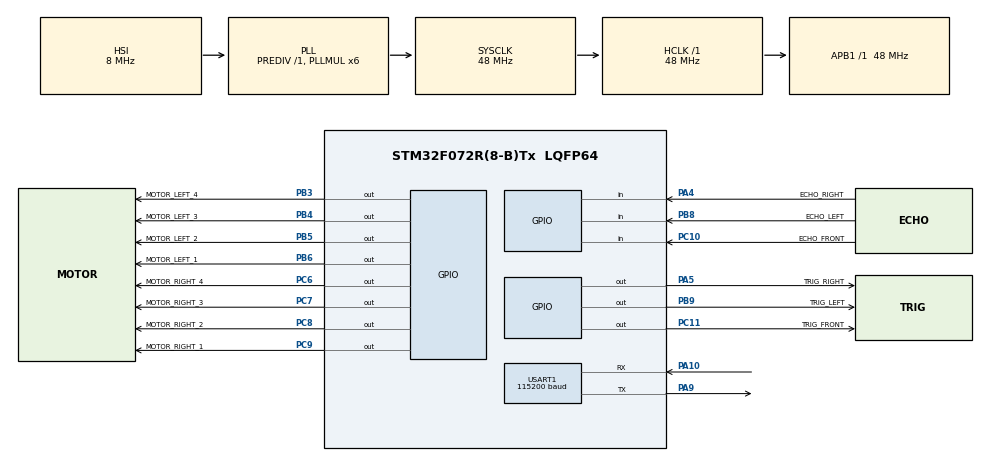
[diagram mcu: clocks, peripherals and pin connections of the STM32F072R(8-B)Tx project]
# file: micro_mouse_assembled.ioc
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Dma.Request0=USART1_RX
Dma.USART1_RX.0.Direction=DMA_PERIPH_TO_MEMORY
Dma.USART1_RX.0.Instance=DMA1_Channel3
Dma.USART1_RX.0.MemDataAlignment=DMA_MDATAALIGN_BYTE
Dma.USART1_RX.0.MemInc=DMA_MINC_ENABLE
Dma.USART1_RX.0.Mode=DMA_CIRCULAR
Dma.USART1_RX.0.PeriphDataAlignment=DMA_PDATAALIGN_BYTE
Dma.USART1_RX.0.PeriphInc=DMA_PINC_DISABLE
Dma.USART1_RX.0.Priority=DMA_PRIORITY_LOW
Mcu.Family=STM32F0
Mcu.Name=STM32F072R(8-B)Tx
Mcu.Package=LQFP64
NVIC.DMA1_Channel2_3_IRQn=true\:0\:0\:false\:false\:true\:false\:true\:true
NVIC.TIM2_IRQn=true\:0\:0\:false\:false\:true\:true\:true\:true
NVIC.USART1_IRQn=true\:0\:0\:false\:false\:true\:true\:true\:true
PA10.Mode=Asynchronous
PA10.Signal=USART1_RX
PA13.Mode=Serial_Wire
PA13.Signal=SYS_SWDIO
PA14.Mode=Serial_Wire
PA14.Signal=SYS_SWCLK
PA4.GPIO_Label=ECHO_RIGHT
PA4.Signal=GPIO_Input
PA5.GPIO_Label=TRIG_RIGHT
PA5.Signal=GPIO_Output
PA9.Mode=Asynchronous
PA9.Signal=USART1_TX
PB3.GPIO_Label=MOTOR_LEFT_4
PB3.Signal=GPIO_Output
PB4.GPIO_Label=MOTOR_LEFT_3
PB4.Signal=GPIO_Output
PB5.GPIO_Label=MOTOR_LEFT_2
PB5.Signal=GPIO_Output
PB6.GPIO_Label=MOTOR_LEFT_1
PB6.Signal=GPIO_Output
PB8.GPIO_Label=ECHO_LEFT
PB8.Signal=GPIO_Input
PB9.GPIO_Label=TRIG_LEFT
PB9.Signal=GPIO_Output
PC10.GPIO_Label=ECHO_FRONT
PC10.Signal=GPIO_Input
PC11.GPIO_Label=TRIG_FRONT
PC11.Signal=GPIO_Output
PC6.GPIO_Label=MOTOR_RIGHT_4
PC6.Signal=GPIO_Output
PC7.GPIO_Label=MOTOR_RIGHT_3
PC7.Signal=GPIO_Output
PC8.GPIO_Label=MOTOR_RIGHT_2
PC8.Signal=GPIO_Output
PC9.GPIO_Label=MOTOR_RIGHT_1
PC9.Signal=GPIO_Output
ProjectManager.HeapSize=0x200
ProjectManager.StackSize=0x400
ProjectManager.TargetToolchain=EWARM V8.32
RCC.AHBFreq_Value=48000000
RCC.APB1Freq_Value=48000000
RCC.APB1TimFreq_Value=48000000
RCC.HCLKFreq_Value=48000000
RCC.PLLMUL=RCC_PLL_MUL6
RCC.SYSCLKFreq_VALUE=48000000
RCC.SYSCLKSource=RCC_SYSCLKSOURCE_PLLCLK
TIM1.Prescaler=47
TIM2.Period=999
TIM2.Prescaler=47
USART1.BaudRate=115200
USART1.VirtualMode-Asynchronous=VM_ASYNC
VP_TIM1_VS_ClockSourceINT.Mode=Internal
VP_TIM2_VS_ClockSourceINT.Mode=Internal
board=STM32F072B-DISCO

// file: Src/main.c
/* USER CODE BEGIN Header */
/**
  ******************************************************************************
  * @file           : main.c
  * @brief          : Main program body
  ******************************************************************************
  * @attention
  *
  * Copyright (c) 2023 STMicroelectronics.
  * All rights reserved.
  *
  * This software is licensed under terms that can be found in the LICENSE file
  * in the root directory of this software component.
  * If no LICENSE file comes with this software, it is provided AS-IS.
  *
  ******************************************************************************
  */
/* USER CODE END Header */
#include "main.h"

/* USER CODE BEGIN Includes */
#include <stdio.h>
#include <stdlib.h>
#include <string.h>
#include "distance.h"
#include "maze.h"
#include "functions.h"
/* USER CODE END Includes */

/* USER CODE BEGIN PD */

char char_INPUT[18];
int8_t parameter_h;
int8_t parameter_d;
int8_t parameter_o;
int16_t parameter;

/* USER CODE END PD */

TIM_HandleTypeDef htim1;
TIM_HandleTypeDef htim2;

UART_HandleTypeDef huart1;
DMA_HandleTypeDef hdma_usart1_rx;

/* USER CODE BEGIN PV */
uint8_t dis_f;
uint8_t dis_r;
uint8_t dis_l;
uint8_t onlyonce = 0;

uint8_t check = 0;
uint8_t controlvar;
uint8_t controlvar_corner = 0;
uint8_t controlvar_wall = 0;
uint8_t Number_of_cells = 0;
uint8_t goal_x;
uint8_t goal_y;

// uint8_t Path[9] = {1,2,3,4,5,3,7,8,9};
//uint8_t cnt = 0;

/* USER CODE END PV */

void SystemClock_Config(void);
static void MX_GPIO_Init(void);
static void MX_DMA_Init(void);
static void MX_USART1_UART_Init(void);
static void MX_TIM1_Init(void);
static void MX_TIM2_Init(void);
/* USER CODE BEGIN PFP */
void usDelay(uint16_t uSec);

/* USER CODE END PFP */

int main(void)
{
  /* USER CODE BEGIN 1 */
  initMaze();
  initPath();
  /* USER CODE END 1 */

  /* MCU Configuration--------------------------------------------------------*/

  /* Reset of all peripherals, Initializes the Flash interface and the Systick. */
  HAL_Init();

  /* Configure the system clock */
  SystemClock_Config();

  /* Initialize all configured peripherals */
  MX_GPIO_Init();
  MX_DMA_Init();
  MX_USART1_UART_Init();
  MX_TIM1_Init();
  MX_TIM2_Init();
  /* USER CODE BEGIN 2 */
  HAL_UART_Receive_DMA(&huart1, rxdata, sizeof(rxdata));

  HAL_TIM_Base_Start (&htim1);

  __HAL_TIM_SET_PRESCALER(&htim2, SystemCoreClock/1000000 - 1);
  __HAL_TIM_SET_AUTORELOAD(&htim2, 200 - 1);   // 1500 desired delay length
  __HAL_TIM_SET_COUNTER(&htim2,100);
  HAL_TIM_Base_Start_IT(&htim2);
  /* USER CODE END 2 */

  /* Infinite loop */
  /* USER CODE BEGIN WHILE */

  i_step = 0;
  j_tim2 = 0;
  k_step = 0;
  cnt = 0;
  k_turn = 0;
  // mean_f =1000;
  mv_distance = 0; //1000;
  mv_speed = 45; // speed in mm/s
  mv_rt_deg = 90; // turn in °        ----> FUNKTIONIERT NUR WENN BEIDE RÄDER MIT GLEICHER GESCHWINDIGKEIT DREHEN
  mv_rt_left = 30;  // speed left
  mv_rt_right = 30;  // speed right
  turn_mode = 0; // Turn mode, 0 = off, 1 = on
  measure_mode_l = 0;
  measure_mode_r = 0;
  measure_mode_f = 0;
  x_start = 0;
  y_start = 0;
  solving_mode = 0;
  solving_mode_fast = 0;

  mean_f = 100;
  mean_r = 100;
  mean_l = 100;
  sum_f = 0;
  sum_l = 0;
  sum_r = 0;
  goal_x = 3;
  goal_y = 3;

  // path[0]->x_pos = 1;
  // path[0]->y_pos = 1;
  // path[0]->direction = 'E';

  // path[1]->x_pos = 2;
  // path[1]->y_pos = 1;
  // path[1]->direction = 'S';

  // path[2]->x_pos = 2;
  // path[2]->y_pos = 0;
  // path[2]->direction = 'N';

  // path[3]->x_pos = 2;
  // path[3]->y_pos = 1;
  // path[3]->direction = 'N';

  // path[4]->x_pos = 2;
  // path[4]->y_pos = 2;
  // path[4]->direction = 'E';

  // path[5]->x_pos = 3;
  // path[5]->y_pos = 2;
  // path[5]->direction = 'E';

  // path[6]->x_pos = 4;
  // path[6]->y_pos = 2;
  // path[6]->direction = 'N';

  // path[7]->x_pos = 4;
  // path[7]->y_pos = 3;
  // path[7]->direction = 'W';

  // maze_counter = 7;

  while (1)
  {
    strncpy(char_INPUT, (const char *)rxdata, 18);

    if (cnt == 20)
    {
      if (measure_mode_f==1)      // If measuremode for front activated
      {
        mean_f = sum_f/20;
        sum_f = 0;
      }
      if (measure_mode_r==1)     // If measuremode for right activated
      {
        mean_r = sum_r/20;
        sum_r = 0;
      }
      if (measure_mode_l==1)      // If measuremode for left activated
      {
        mean_l = sum_l/20;
        sum_l = 0;
      }
      cnt = 0;
    }
    else
    {
      if (measure_mode_f==1)
      {
        dis_f = calc_distance_f();
        sum_f = dis_f + sum_f;
      }
      if (measure_mode_l==1)
      {
        dis_l = calc_distance_l();
        sum_l = dis_l + sum_l;
      }
      if (measure_mode_r==1)
      {
        dis_r = calc_distance_r();
        sum_r = dis_r + sum_r;
      }
      cnt++;
      HAL_Delay(1);
    }

    if (strncmp(&char_INPUT[0], "mv", 2) == 0)
    {
      if (strncmp(&char_INPUT[2], "sp", 2) == 0) // define speed
      {
        // movement speed
        uint8_t* message1 = "You set the speed in mm/s. \r\n\r\n";
        HAL_UART_Transmit(&huart1, message1, strlen(message1),10);
        parameter_h = (int)char_INPUT[4] - 48;
        parameter_d = (int)char_INPUT[5] - 48;
        parameter_o = (int)char_INPUT[6] - 48;
        parameter = 100*parameter_h + 10*parameter_d + parameter_o;

        turn_mode = 0;
        mv_speed = parameter;
        clear_buffer();

      }
      else if (strncmp(&char_INPUT[2], "ds", 2) == 0) // define distance
      {
        // movement distance
        uint8_t* message2 = "You set a distance in mm. \r\n\r\n";
        HAL_UART_Transmit(&huart1, message2, strlen(message2),100);
        parameter_h = (int)char_INPUT[4] - 48;
        parameter_d = (int)char_INPUT[5] - 48;
        parameter_o = (int)char_INPUT[6] - 48;

        if ((int)char_INPUT[4]==45) //falls das Erste ein Minus ist
        {
          parameter_h = 0;
        }
        parameter = 100*parameter_h + 10*parameter_d + parameter_o;

        turn_mode = 0;

        mv_distance = parameter;

        if ((int)char_INPUT[4]==45) //falls das Erste ein Minus ist
        {
          mv_distance = -parameter;
        }

        clear_buffer();
      }
      else if (strncmp(&char_INPUT[2], "st", 2) == 0) // stop mausi
      {
        // movement stop
        uint8_t* message3 = "Mausi stops. \r\n\r\n";
        HAL_UART_Transmit(&huart1, message3, strlen(message3),100);

        turn_mode = 0;
        mv_distance = 0;
        solving_mode = 0;
        solving_mode_fast = 0;

        clear_buffer();
      }
      else if (strncmp(&char_INPUT[2], "rt", 2) == 0) // rotate mausi
      {
        // movement rotation
        uint8_t* message4 = "Mausi is turning with your given speed. \r\n";
        HAL_UART_Transmit(&huart1, message4, strlen(message4),100);
        parameter_h = (int)char_INPUT[4] - 48;
        parameter_d = (int)char_INPUT[5] - 48;
        parameter_o = (int)char_INPUT[6] - 48;
        parameter = 100*parameter_h + 10*parameter_d + parameter_o;

        turn_mode = 1;
        mv_rt_left = parameter;   // so oder so ähnlich
        mv_rt_right = -parameter;
      }
      else if (strncmp(&char_INPUT[2], "pa", 2) == 0) // parking cmd
      {
        // parking cmd
        // mv_distance = 1000;
        if (mean_f<12)
        {
          check++;
        }
        if (check>=3 && onlyonce == 0)  // wenn mean drei mal unter 10 cm
        {
          turn_mode = 1;
          mv_rt_deg = 180;
          mv_rt_left = 30;
          mv_rt_right = -30;
          onlyonce = 1;
        }
        if (k_turn >= mv_rt_deg*19) // wenn 180° gedreht, nochmal 5cm zurücksetzen
        {
          k_turn =0;
          k_step = 0;
          turn_mode = 0;
          mv_distance = -50;
        }

      }
      else if (strncmp(&char_INPUT[2], "wa", 2) == 0)
      {
         // Follow a wall
        if(controlvar_wall == 0){
          mv_distance = 2000;
          controlvar_wall = 1;
        }

        if (mean_l<6) //nur links
        {
          turn_mode = 1;
          mv_rt_left = 30;
          mv_rt_right = 25;
          k_turn = 0;
        }
        else if (mean_l>8)
        {
          turn_mode = 1;
          mv_rt_left = 25;
          mv_rt_right = 30;
          k_turn = 0;
        }
        else
        {
          //turn_mode = 0;
          //mv_speed = 30;
        }
      }
      else if (strncmp(&char_INPUT[2], "co", 2) == 0)
      {
      // Follow a wall and corner
      if (mean_l<6 && mean_f>15) //nur links
      {
        turn_mode = 1;
        mv_rt_left = 30;
        mv_rt_right = 25;
        k_turn = 0;
      }
      else if (mean_l>8 && mean_f >15)
      {
        turn_mode = 1;
        mv_rt_left = 25;
        mv_rt_right = 30;
        k_turn = 0;
      }
      else if (mean_f > 15)
      {
        turn_mode = 0;
        mv_speed = 30;
      }
      // Follow a corner
      if (mean_f<10)
        {
          check++;
        }
      if (check>3 && mean_l<12)  // Rechtskurve
      {
        if (controlvar_corner==0)
        {
          k_turn = 0;
        }
        check =0;
        controlvar_corner=1;
        measure_mode_l = 0;
        measure_mode_f = 0;
        mv_rt_deg = 90;
        turn_mode = 1;
        mv_rt_left = 30;
        mv_rt_right = -30;

        //onlyonce = 1;
      }
        /*if (mean_f<10 && mean_r<12 && onlyonce == 0)  // Linkskurve
        {
          mv_rt_deg = 90;
          turn_mode = 1;
          mv_rt_left = -30;
          mv_rt_right = 30;
          onlyonce = 1;
        }*/

        if (k_turn >= mv_rt_deg*19)
        {
          turn_mode = 0;
          measure_mode_l =1;
          measure_mode_f =1;
        }
      }
      else /* unexpected input */
      {
        uint8_t* message = "Invalid input! Expected sp,ds,st or rt. \r\n";
        HAL_UART_Transmit(&huart1, message, strlen(message),100);
        clear_buffer();
      }
    }
    else if  (strncmp(&char_INPUT[0], "tm", 2) == 0)
    {
      if (strncmp(&char_INPUT[2], "ds", 2) == 0)
      {
        measure_mode_f = 1;
        measure_mode_l = 1;
        measure_mode_r = 1;

        // telemetry distance
        if (cnt == 1)
        {

          char buffer[20];
          int len_f=sprintf(buffer,"Front = %i" "cm   ", mean_f);
          HAL_UART_Transmit(&huart1, (uint8_t*)buffer, len_f, HAL_MAX_DELAY);
          int len_l=sprintf(buffer,"Left = %i" "cm   ", mean_l);
          HAL_UART_Transmit(&huart1, (uint8_t*)buffer, len_l, HAL_MAX_DELAY);
          int len_r=sprintf(buffer,"Right = %i" "cm   \r\n\r\n", mean_r);
          HAL_UART_Transmit(&huart1, (uint8_t*)buffer, len_r, HAL_MAX_DELAY);
          // mean_f = 0;
          // mean_l = 0;
          // mean_r = 0;
          clear_buffer();
        }
        else
        {

        }
      }
      else if (strncmp(&char_INPUT[2], "od", 2) == 0)
      {
        // telemetry odometry
        uint8_t* message6 = "We don't use this command.  \r\n\r\n";
        HAL_UART_Transmit(&huart1, message6, strlen(message6),100);
      }
      else if (strncmp(&char_INPUT[2], "vc", 2) == 0)
      {
        // telemetry vector
        uint8_t* message7 = "We don't use this command.  \r\n\r\n";
        HAL_UART_Transmit(&huart1, message7, strlen(message7),100);
      }
      else if (strncmp(&char_INPUT[2], "hd", 2) == 0)
      {
        // telemetry heading
        uint8_t* message8 = "We don't use this command. \r\n \r\n";
        HAL_UART_Transmit(&huart1, message8, strlen(message8),100);
      }
      else /* unexpected input */
      {
        uint8_t* message = "Invalid input! Expected ds. \r\n\r\n";
        HAL_UART_Transmit(&huart1, message, strlen(message),10);
        clear_buffer();
      }
    }
    else if (strncmp(&char_INPUT[0], "mz", 2) == 0)
    {
      if (strncmp(&char_INPUT[2], "ds", 2) == 0)
      {
        // telemetry odometry
        uint8_t* message6 = "You commanded the number of cells Mausi shall drive. \r\n";
        HAL_UART_Transmit(&huart1, message6, strlen(message6),100);
        parameter_h = (int)char_INPUT[4] - 48;
        parameter_d = (int)char_INPUT[5] - 48;
        parameter_o = (int)char_INPUT[6] - 48;
        parameter = 100*parameter_h + 10*parameter_d + parameter_o;

        Number_of_cells = parameter;
        mv_distance = Number_of_cells * 200;
        clear_buffer();

      }
      else if (strncmp(&char_INPUT[2], "tu", 2) == 0)
      {
        // telemetry odometry
        uint8_t* message6 = "Mausi is turning the angle you gave her. \r\n";
        HAL_UART_Transmit(&huart1, message6, strlen(message6),100);
        parameter_h = (int)char_INPUT[4] - 48;
        parameter_d = (int)char_INPUT[5] - 48;
        parameter_o = (int)char_INPUT[6] - 48;

        if ((int)char_INPUT[4]==45) //falls das Erste ein Minus ist
        {
          parameter_h = 0;
        }

        parameter = 100*parameter_h + 10*parameter_d + parameter_o;

        // if ((int)char_INPUT[4]==45)
        // {
        //   parameter *= -1;
        // }

        turn_mode = 1;
        mv_rt_deg = parameter;
        if ((int)char_INPUT[4]==45)
        {
          mv_rt_left = -30;
          mv_rt_right = 30;
        }
        else
        {
          mv_rt_left = 30;
          mv_rt_right = -30;
        }

        clear_buffer();

      }
      else if (strncmp(&char_INPUT[2], "ps", 2) == 0)
      {
        // return postion in maze
        char buffer[20];
        int pos_maze = sprintf(buffer,"Position: %i %i" "   \r\n \r\n", x_coordinate, y_coordinate);
        HAL_UART_Transmit(&huart1, (uint8_t*)buffer, pos_maze, HAL_MAX_DELAY);
        clear_buffer();
      }
      else if (strncmp(&char_INPUT[2], "gl", 2) == 0) // define destination
      {
        maze_counter = 0;
        uint8_t* message6 = "You defined the destination. \r\n \r\n";
        HAL_UART_Transmit(&huart1, message6, strlen(message6),100);

        // read (x,y) goal coordinates
        goal_x = (int)char_INPUT[5] - 48; // x
        goal_y = (int)char_INPUT[6] - 48; // y

        clear_buffer();

      }
      else if (strncmp(&char_INPUT[2], "sv", 2) == 0) // solve
      {
        maze_counter = 0;
        uint8_t* message6 = "Mausi is solving the maze. \r\n \r\n";
        HAL_UART_Transmit(&huart1, message6, strlen(message6),100);

        // read (x,y) starting coordinates and starting orientation from user input
        x_coordinate = (int)char_INPUT[4] - 48; // x
        y_coordinate = (int)char_INPUT[5] - 48; // y
        orientation = (char)char_INPUT[6];

        x_start = x_coordinate;
        y_start = y_coordinate;
        orientation_start = orientation;

        solving_mode = 1;

        clear_buffer();

      }
      else if (strncmp(&char_INPUT[2], "rd", 2) == 0) // Read labyrinth cell walls from memory
      {
        int x_read = (int)char_INPUT[5] - 48; // x
        int y_read = (int)char_INPUT[6] - 48; // y

        char buffer[20];
        int read_walls = sprintf(buffer,"N E S W = %i %i %i %i" "   \r\n \r\n", maze[x_read][y_read]->wallNorth,
                                                                          maze[x_read][y_read]->wallEast,
                                                                          maze[x_read][y_read]->wallSouth,
                                                                          maze[x_read][y_read]->wallWest);
        HAL_UART_Transmit(&huart1, (uint8_t*)buffer, read_walls, HAL_MAX_DELAY);
        clear_buffer();
      }
      else if (strncmp(&char_INPUT[2], "sw", 2) == 0) // shortest way
      {
        maze_counter_fast = 0;
        int n = maze_counter;
        uint8_t k = 0;
        int doppelj = 0;

        for (int i = 0; i < n - 1; i++) {
          int control_var = 0;
          for (int j = i + 1; j < n; j++) {
            if (path[i]->x_pos == path[j]->x_pos && path[i]->y_pos == path[j]->y_pos) { // //Path[i]== Path[j]

              char buffer[10];
              int test = sprintf(buffer,"%i %i" "   \r\n \r\n", i,j);
              HAL_UART_Transmit(&huart1, (uint8_t*)buffer, test, HAL_MAX_DELAY);

              control_var = 1;
              doppelj = j;
              // i = j+1;
            }
          }
          shortest_way[k][0] = path[i]->x_pos;
          shortest_way[k][1] = path[i]->y_pos;
          shortest_way_direction[k] = path[i]->direction;

          if (control_var == 1)
          {
            i = doppelj;
            shortest_way_direction[k] = path[doppelj]->direction;
          }
          k++;
        }
        shortest_way[k][0] = path[n-1]->x_pos;
        shortest_way[k][1] = path[n-1]->y_pos;
        shortest_way_direction[k] = path[n-1]->direction;

        shortest_way[k+1][0] = path[n]->x_pos;
        shortest_way[k+1][1] = path[n]->y_pos;
        shortest_way_direction[k+1] = path[n]->direction;
        // somehow delete everything after k

        solving_mode_fast = 1;
        x_coordinate = x_start;
        y_coordinate = y_start;
        orientation = orientation_start;
        uint8_t* fast_mode = "Mausi is now trying to find the fastest way! Vroom vroom! \r\n \r\n";
        HAL_UART_Transmit(&huart1, fast_mode, strlen(fast_mode),100);
        clear_buffer();
      }
      else if (strncmp(&char_INPUT[2], "wr", 2) == 0) // write labyrinth cell walls into memory
      {
        int parameter_x = (int)char_INPUT[4] - 48;
        int parameter_y = (int)char_INPUT[5] - 48;
        int parameter_wall_n = (int)char_INPUT[6] - 48;
        int parameter_wall_e = (int)char_INPUT[7] - 48;
        int parameter_wall_s = (int)char_INPUT[8] - 48;
        int parameter_wall_w = (int)char_INPUT[9] - 48;

        maze[parameter_x][parameter_y]->wallNorth = parameter_wall_n;
        maze[parameter_x][parameter_y]->wallEast = parameter_wall_e;
        maze[parameter_x][parameter_y]->wallSouth = parameter_wall_s;
        maze[parameter_x][parameter_y]->wallWest = parameter_wall_w;
      }
    }
    else if (strncmp(&char_INPUT[0], "\r\n", 2) == 0)
    {
      clear_buffer();
    }

    if (solving_mode == 1)
    {
      if (x_coordinate == goal_x && y_coordinate == goal_y) // check if finishing position is reached (x,y) = (4,4)
      {
        uint8_t* congrats = "Congrats! You made it! \r\n \r\n";
        HAL_UART_Transmit(&huart1, congrats, strlen(congrats),100);
        // maze_counter = 0;
        solving_mode = 0;
      }
      else
      {
        scan_position(); // function that scans f,r,l distance and writes maze matrix, input = orientation
        turn_in_maze();

        char buffer[50];
        int pos_maze = sprintf(buffer,"Position: %i %i Orientation: %c" "   \r\n \r\n", x_coordinate, y_coordinate, orientation);
        HAL_UART_Transmit(&huart1, (uint8_t*)buffer, pos_maze, HAL_MAX_DELAY);

        drive_one_cell();

        maze_counter++;
      }
    }
    else if (solving_mode_fast == 1)
    {

      if (x_coordinate == goal_x && y_coordinate == goal_y) // check if finishing position is reached (x,y) = (4,4)
      {
        uint8_t* congrats = "Congrats! You made it! \r\n \r\n";
        HAL_UART_Transmit(&huart1, congrats, strlen(congrats),100);
        // maze_counter = 0;
        solving_mode_fast = 0;
      }
      else
      {
        turn_in_maze_fast();
        drive_one_cell();

        char buffer_fast[50];
        int pos_maze = sprintf(buffer_fast,"Position: %i %i Orientation: %c" "   \r\n \r\n", x_coordinate, y_coordinate, orientation);
        HAL_UART_Transmit(&huart1, (uint8_t*)buffer_fast, pos_maze, HAL_MAX_DELAY);
        maze_counter_fast++;
      }

    }

  }
  /* USER CODE END 3 */
}

void SystemClock_Config(void)
{
  RCC_OscInitTypeDef RCC_OscInitStruct = {0};
  RCC_ClkInitTypeDef RCC_ClkInitStruct = {0};
  RCC_PeriphCLKInitTypeDef PeriphClkInit = {0};

  /** Initializes the RCC Oscillators according to the specified parameters
  * in the RCC_OscInitTypeDef structure.
  */
  RCC_OscInitStruct.OscillatorType = RCC_OSCILLATORTYPE_HSI;
  RCC_OscInitStruct.HSIState = RCC_HSI_ON;
  RCC_OscInitStruct.HSICalibrationValue = RCC_HSICALIBRATION_DEFAULT;
  RCC_OscInitStruct.PLL.PLLState = RCC_PLL_ON;
  RCC_OscInitStruct.PLL.PLLSource = RCC_PLLSOURCE_HSI;
  RCC_OscInitStruct.PLL.PLLMUL = RCC_PLL_MUL6;
  RCC_OscInitStruct.PLL.PREDIV = RCC_PREDIV_DIV1;
  if (HAL_RCC_OscConfig(&RCC_OscInitStruct) != HAL_OK)
  {
    Error_Handler();
  }

  /** Initializes the CPU, AHB and APB buses clocks
  */
  RCC_ClkInitStruct.ClockType = RCC_CLOCKTYPE_HCLK|RCC_CLOCKTYPE_SYSCLK
                              |RCC_CLOCKTYPE_PCLK1;
  RCC_ClkInitStruct.SYSCLKSource = RCC_SYSCLKSOURCE_PLLCLK;
  RCC_ClkInitStruct.AHBCLKDivider = RCC_SYSCLK_DIV1;
  RCC_ClkInitStruct.APB1CLKDivider = RCC_HCLK_DIV1;

  if (HAL_RCC_ClockConfig(&RCC_ClkInitStruct, FLASH_LATENCY_1) != HAL_OK)
  {
    Error_Handler();
  }
  PeriphClkInit.PeriphClockSelection = RCC_PERIPHCLK_USART1;
  PeriphClkInit.Usart1ClockSelection = RCC_USART1CLKSOURCE_PCLK1;
  if (HAL_RCCEx_PeriphCLKConfig(&PeriphClkInit) != HAL_OK)
  {
    Error_Handler();
  }
}

static void MX_TIM1_Init(void)
{

  TIM_ClockConfigTypeDef sClockSourceConfig = {0};
  TIM_MasterConfigTypeDef sMasterConfig = {0};

  htim1.Instance = TIM1;
  htim1.Init.Prescaler = 47;
  htim1.Init.CounterMode = TIM_COUNTERMODE_UP;
  htim1.Init.Period = 65535;
  htim1.Init.ClockDivision = TIM_CLOCKDIVISION_DIV1;
  htim1.Init.RepetitionCounter = 0;
  htim1.Init.AutoReloadPreload = TIM_AUTORELOAD_PRELOAD_DISABLE;
  if (HAL_TIM_Base_Init(&htim1) != HAL_OK)
  {
    Error_Handler();
  }
  sClockSourceConfig.ClockSource = TIM_CLOCKSOURCE_INTERNAL;
  if (HAL_TIM_ConfigClockSource(&htim1, &sClockSourceConfig) != HAL_OK)
  {
    Error_Handler();
  }
  sMasterConfig.MasterOutputTrigger = TIM_TRGO_RESET;
  sMasterConfig.MasterSlaveMode = TIM_MASTERSLAVEMODE_DISABLE;
  if (HAL_TIMEx_MasterConfigSynchronization(&htim1, &sMasterConfig) != HAL_OK)
  {
    Error_Handler();
  }

}

static void MX_TIM2_Init(void)
{

  TIM_ClockConfigTypeDef sClockSourceConfig = {0};
  TIM_MasterConfigTypeDef sMasterConfig = {0};

  htim2.Instance = TIM2;
  htim2.Init.Prescaler = 47;
  htim2.Init.CounterMode = TIM_COUNTERMODE_UP;
  htim2.Init.Period = 999;
  htim2.Init.ClockDivision = TIM_CLOCKDIVISION_DIV1;
  htim2.Init.AutoReloadPreload = TIM_AUTORELOAD_PRELOAD_DISABLE;
  if (HAL_TIM_Base_Init(&htim2) != HAL_OK)
  {
    Error_Handler();
  }
  sClockSourceConfig.ClockSource = TIM_CLOCKSOURCE_INTERNAL;
  if (HAL_TIM_ConfigClockSource(&htim2, &sClockSourceConfig) != HAL_OK)
  {
    Error_Handler();
  }
  sMasterConfig.MasterOutputTrigger = TIM_TRGO_RESET;
  sMasterConfig.MasterSlaveMode = TIM_MASTERSLAVEMODE_DISABLE;
  if (HAL_TIMEx_MasterConfigSynchronization(&htim2, &sMasterConfig) != HAL_OK)
  {
    Error_Handler();
  }

}

static void MX_USART1_UART_Init(void)
{

  huart1.Instance = USART1;
  huart1.Init.BaudRate = 115200;
  huart1.Init.WordLength = UART_WORDLENGTH_8B;
  huart1.Init.StopBits = UART_STOPBITS_1;
  huart1.Init.Parity = UART_PARITY_NONE;
  huart1.Init.Mode = UART_MODE_TX_RX;
  huart1.Init.HwFlowCtl = UART_HWCONTROL_NONE;
  huart1.Init.OverSampling = UART_OVERSAMPLING_16;
  huart1.Init.OneBitSampling = UART_ONE_BIT_SAMPLE_DISABLE;
  huart1.AdvancedInit.AdvFeatureInit = UART_ADVFEATURE_NO_INIT;
  if (HAL_UART_Init(&huart1) != HAL_OK)
  {
    Error_Handler();
  }

}

static void MX_DMA_Init(void)
{

  /* DMA controller clock enable */
  __HAL_RCC_DMA1_CLK_ENABLE();

  /* DMA interrupt init */
  /* DMA1_Channel2_3_IRQn interrupt configuration */
  HAL_NVIC_SetPriority(DMA1_Channel2_3_IRQn, 0, 0);
  HAL_NVIC_EnableIRQ(DMA1_Channel2_3_IRQn);

}

static void MX_GPIO_Init(void)
{
  GPIO_InitTypeDef GPIO_InitStruct = {0};

  /* GPIO Ports Clock Enable */
  __HAL_RCC_GPIOA_CLK_ENABLE();
  __HAL_RCC_GPIOC_CLK_ENABLE();
  __HAL_RCC_GPIOB_CLK_ENABLE();

  /*Configure GPIO pin Output Level */
  HAL_GPIO_WritePin(TRIG_RIGHT_GPIO_Port, TRIG_RIGHT_Pin, GPIO_PIN_RESET);

  /*Configure GPIO pin Output Level */
  HAL_GPIO_WritePin(GPIOC, MOTOR_RIGHT_4_Pin|MOTOR_RIGHT_3_Pin|MOTOR_RIGHT_2_Pin|MOTOR_RIGHT_1_Pin
                          |TRIG_FRONT_Pin, GPIO_PIN_RESET);

  /*Configure GPIO pin Output Level */
  HAL_GPIO_WritePin(GPIOB, MOTOR_LEFT_4_Pin|MOTOR_LEFT_3_Pin|MOTOR_LEFT_2_Pin|MOTOR_LEFT_1_Pin
                          |TRIG_LEFT_Pin, GPIO_PIN_RESET);

  /*Configure GPIO pin : ECHO_RIGHT_Pin */
  GPIO_InitStruct.Pin = ECHO_RIGHT_Pin;
  GPIO_InitStruct.Mode = GPIO_MODE_INPUT;
  GPIO_InitStruct.Pull = GPIO_NOPULL;
  HAL_GPIO_Init(ECHO_RIGHT_GPIO_Port, &GPIO_InitStruct);

  /*Configure GPIO pin : TRIG_RIGHT_Pin */
  GPIO_InitStruct.Pin = TRIG_RIGHT_Pin;
  GPIO_InitStruct.Mode = GPIO_MODE_OUTPUT_PP;
  GPIO_InitStruct.Pull = GPIO_NOPULL;
  GPIO_InitStruct.Speed = GPIO_SPEED_FREQ_LOW;
  HAL_GPIO_Init(TRIG_RIGHT_GPIO_Port, &GPIO_InitStruct);

  /*Configure GPIO pins : MOTOR_RIGHT_4_Pin MOTOR_RIGHT_3_Pin MOTOR_RIGHT_2_Pin MOTOR_RIGHT_1_Pin
                           TRIG_FRONT_Pin */
  GPIO_InitStruct.Pin = MOTOR_RIGHT_4_Pin|MOTOR_RIGHT_3_Pin|MOTOR_RIGHT_2_Pin|MOTOR_RIGHT_1_Pin
                          |TRIG_FRONT_Pin;
  GPIO_InitStruct.Mode = GPIO_MODE_OUTPUT_PP;
  GPIO_InitStruct.Pull = GPIO_NOPULL;
  GPIO_InitStruct.Speed = GPIO_SPEED_FREQ_LOW;
  HAL_GPIO_Init(GPIOC, &GPIO_InitStruct);

  /*Configure GPIO pin : ECHO_FRONT_Pin */
  GPIO_InitStruct.Pin = ECHO_FRONT_Pin;
  GPIO_InitStruct.Mode = GPIO_MODE_INPUT;
  GPIO_InitStruct.Pull = GPIO_NOPULL;
  HAL_GPIO_Init(ECHO_FRONT_GPIO_Port, &GPIO_InitStruct);

  /*Configure GPIO pins : MOTOR_LEFT_4_Pin MOTOR_LEFT_3_Pin MOTOR_LEFT_2_Pin MOTOR_LEFT_1_Pin
                           TRIG_LEFT_Pin */
  GPIO_InitStruct.Pin = MOTOR_LEFT_4_Pin|MOTOR_LEFT_3_Pin|MOTOR_LEFT_2_Pin|MOTOR_LEFT_1_Pin
                          |TRIG_LEFT_Pin;
  GPIO_InitStruct.Mode = GPIO_MODE_OUTPUT_PP;
  GPIO_InitStruct.Pull = GPIO_NOPULL;
  GPIO_InitStruct.Speed = GPIO_SPEED_FREQ_LOW;
  HAL_GPIO_Init(GPIOB, &GPIO_InitStruct);

  /*Configure GPIO pin : ECHO_LEFT_Pin */
  GPIO_InitStruct.Pin = ECHO_LEFT_Pin;
  GPIO_InitStruct.Mode = GPIO_MODE_INPUT;
  GPIO_InitStruct.Pull = GPIO_NOPULL;
  HAL_GPIO_Init(ECHO_LEFT_GPIO_Port, &GPIO_InitStruct);

}

/* USER CODE BEGIN 4 */
void usDelay(uint16_t uSec)
{
	__HAL_TIM_SET_COUNTER(&htim1,0);  // set the counter value a 0
	while (__HAL_TIM_GET_COUNTER(&htim1) < uSec);  // wait for the counter to reach the us input in the parameter
}

void HAL_UART_RxCpltCallback(UART_HandleTypeDef *huart)
{
  /* Prevent unused argument(s) compilation warning */
  UNUSED(huart);

  /* NOTE : This function should not be modified, when the callback is needed,
            the HAL_UART_RxCpltCallback can be implemented in the user file.
   */
  //HAL_UART_Transmit(&huart1, rxdata, sizeof(rxdata), 100);
}

/* USER CODE END 4 */

void Error_Handler(void)
{
  __disable_irq();
  while (1)
  {
  }
}
